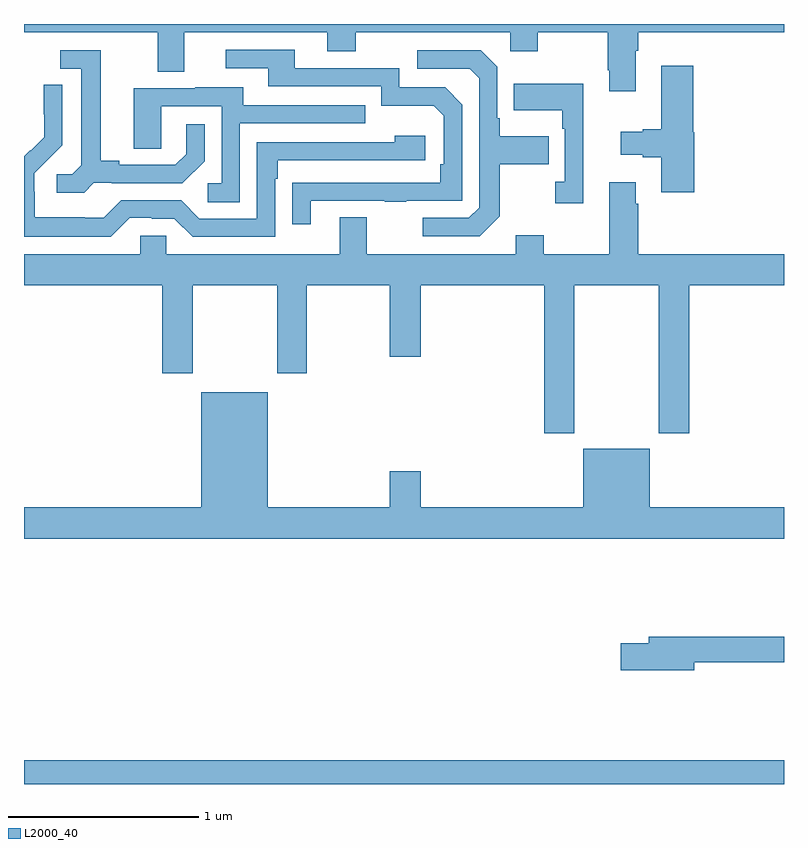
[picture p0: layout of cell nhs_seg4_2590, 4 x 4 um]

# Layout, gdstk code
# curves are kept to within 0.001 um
import gdstk
lib = gdstk.Library(unit=1e-6, precision=1e-09)
def R(c, l, rs):  # rectangles x0, y0, x1, y1
    for r in rs: c.add(gdstk.rectangle(r[:2], r[2:], *l))
def P(c, l, *ps):  # polygons
    for p in ps: c.add(gdstk.Polygon(p, *l))
L2000_40 = (2000, 40)

nhs_seg4_2590 = lib.new_cell('nhs_seg4_2590')
R(nhs_seg4_2590, L2000_40, [(247,756.9,251,757.024)])
P(nhs_seg4_2590, L2000_40, [(247,760.856),(247.703,760.856),(247.703,760.648),(247.843,760.648),(247.843,760.856),(248.597,760.856),(248.597,760.757),(248.745,760.757),(248.745,760.856),(249.558,760.856),(249.558,760.757),(249.705,760.757),(249.705,760.856),(250.072,760.856),(250.072,760.657),(250.079,760.657),(250.079,760.545),(250.219,760.545),(250.219,760.76),(250.232,760.76),(250.232,760.856),(251,760.856),(251,760.9),(247,760.9)],
  [(248.509,759.969),(248.899,759.969),(248.899,759.964),(249.011,759.964),(249.011,759.969),(249.306,759.969),(249.306,760.476),(249.216,760.566),(248.976,760.566),(248.976,760.668),(248.425,760.668),(248.425,760.764),(248.061,760.764),(248.061,760.668),(248.285,760.668),(248.285,760.572),(248.88,760.572),(248.88,760.469),(249.157,760.469),(249.21,760.416),(249.21,760.162),(249.19,760.162),(249.19,760.065),(248.413,760.064),(248.413,759.846),(248.509,759.846)],
  [(247.368,760.065),(247.462,760.065),(247.462,760.062),(247.834,760.062),(247.95,760.178),(247.95,760.372),(247.853,760.372),(247.853,760.215),(247.796,760.158),(247.501,760.158),(247.501,760.181),(247.405,760.181),(247.405,760.761),(247.191,760.761),(247.191,760.665),(247.301,760.665),(247.301,760.157),(247.254,760.11),(247.173,760.11),(247.173,760.013),(247.316,760.013)],
  [(249.505,759.889),(249.505,760.162),(249.761,760.162),(249.761,760.309),(249.505,760.309),(249.505,760.405),(249.492,760.405),(249.492,760.674),(249.405,760.761),(249.069,760.761),(249.069,760.665),(249.345,760.665),(249.396,760.614),(249.396,759.933),(249.342,759.879),(249.099,759.879),(249.099,759.783),(249.399,759.783)],
  [(250.528,760.329),(250.523,760.329),(250.523,760.681),(250.355,760.681),(250.355,760.346),(250.256,760.346),(250.256,760.333),(250.14,760.333),(250.14,760.211),(250.256,760.211),(250.256,760.199),(250.355,760.199),(250.355,760.014),(250.528,760.014)],
  [(249.944,760.585),(249.577,760.585),(249.577,760.445),(249.834,760.445),(249.834,760.349),(249.846,760.349),(249.846,760.07),(249.795,760.07),(249.795,759.957),(249.944,759.957)],
  [(247.557,759.879),(247.673,759.879),(247.673,759.876),(247.791,759.876),(247.887,759.78),(248.322,759.78),(248.322,760.085),(248.335,760.085),(248.335,760.182),(249.112,760.182),(249.112,760.312),(248.951,760.312),(248.951,760.278),(248.226,760.278),(248.226,759.876),(247.923,759.876),(247.827,759.972),(247.512,759.972),(247.419,759.879),(247.319,759.879),(247.319,759.883),(247.056,759.883),(247.056,760.017),(247.054,760.017),(247.054,760.114),(247.2,760.262),(247.2,760.58),(247.104,760.58),(247.104,760.426),(247.106,760.426),(247.106,760.304),(247.035,760.233),(247.032,760.236),(247,760.204),(247,759.779),(247.457,759.779)],
  [(248.136,760.377),(248.795,760.377),(248.795,760.473),(248.155,760.473),(248.155,760.567),(247.901,760.567),(247.901,760.563),(247.577,760.563),(247.577,760.243),(247.722,760.243),(247.722,760.467),(248.04,760.467),(248.04,760.062),(247.968,760.062),(247.968,759.961),(248.136,759.961)],
  [(249.897,759.524),(250.342,759.524),(250.342,758.745),(250.502,758.745),(250.502,759.524),(251,759.524),(251,759.688),(250.232,759.688),(250.232,759.953),(250.219,759.953),(250.219,760.066),(250.079,760.066),(250.079,759.688),(249.735,759.688),(249.735,759.787),(249.587,759.787),(249.587,759.688),(248.803,759.688),(248.803,759.883),(248.663,759.883),(248.663,759.688),(247.749,759.688),(247.749,759.786),(247.611,759.786),(247.611,759.688),(247,759.688),(247,759.524),(247.727,759.524),(247.727,759.063),(247.887,759.063),(247.887,759.524),(248.332,759.524),(248.332,759.063),(248.487,759.063),(248.487,759.524),(248.924,759.524),(248.924,759.15),(249.088,759.15),(249.088,759.524),(249.737,759.524),(249.737,758.745),(249.897,758.745)],
  [(251,758.356),(250.294,758.356),(250.294,758.665),(249.944,758.665),(249.944,758.356),(249.088,758.356),(249.088,758.545),(248.924,758.545),(248.924,758.356),(248.284,758.356),(248.284,758.962),(247.934,758.962),(247.934,758.356),(247,758.356),(247,758.192),(251,758.192)],
  [(250.528,757.54),(251,757.54),(251,757.676),(250.289,757.676),(250.289,757.64),(250.14,757.64),(250.14,757.498),(250.528,757.498)])

lib.write_gds('nhs_seg4_2590.gds')
